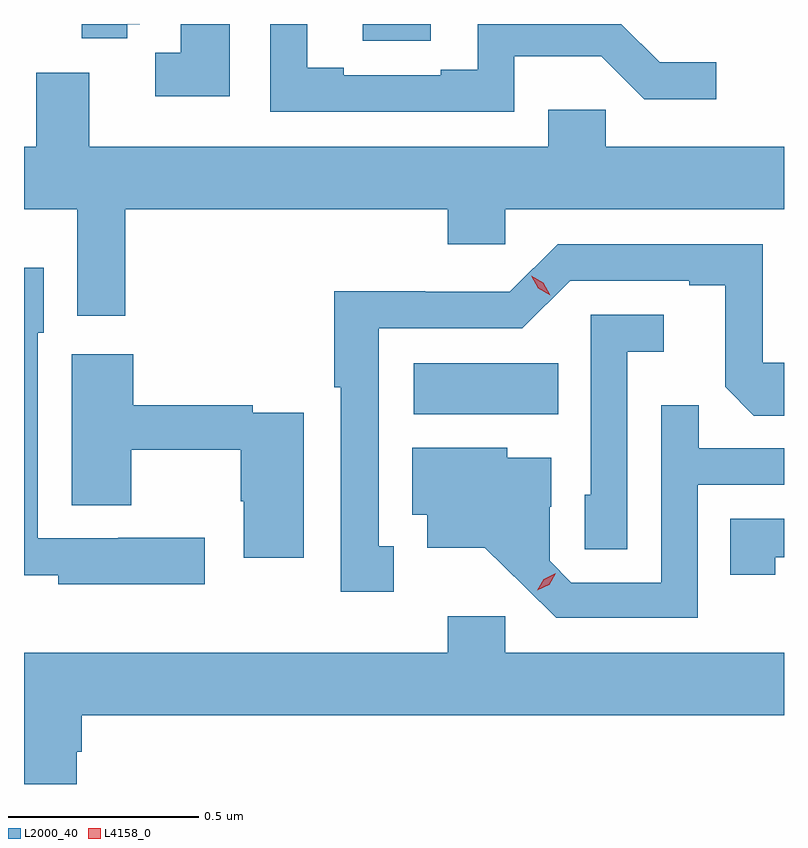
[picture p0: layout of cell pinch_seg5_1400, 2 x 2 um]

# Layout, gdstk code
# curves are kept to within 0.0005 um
import gdstk
lib = gdstk.Library(unit=1e-6, precision=1e-09)
def R(c, l, rs):  # rectangles x0, y0, x1, y1
    for r in rs: c.add(gdstk.rectangle(r[:2], r[2:], *l))
def P(c, l, *ps):  # polygons
    for p in ps: c.add(gdstk.Polygon(p, *l))
L2000_40 = (2000, 40)
L4158_0 = (4158, 0)

pinch_seg5_1400 = lib.new_cell('pinch_seg5_1400')
R(pinch_seg5_1400, L2000_40, [(300.102,882.86,300.482,882.994), (299.967,883.843,300.146,883.887)])
P(pinch_seg5_1400, L2000_40, [(299.348,883.886),(299.38,883.886),(299.38,883.887),(299.228,883.887),(299.228,883.849),(299.348,883.849)],
  [(299.617,883.887),(299.489,883.887),(299.489,883.812),(299.421,883.812),(299.421,883.697),(299.617,883.697)],
  [(300.366,883.802),(300.595,883.802),(300.708,883.689),(300.898,883.689),(300.898,883.786),(300.749,883.786),(300.648,883.887),(300.27,883.887),(300.27,883.766),(300.173,883.766),(300.173,883.752),(299.917,883.752),(299.917,883.772),(299.821,883.772),(299.821,883.887),(299.724,883.887),(299.724,883.656),(300.366,883.656)],
  [(299.342,883.4),(300.191,883.4),(300.191,883.307),(300.342,883.307),(300.342,883.4),(301.076,883.4),(301.076,883.564),(300.607,883.564),(300.607,883.662),(300.455,883.662),(300.455,883.564),(299.248,883.564),(299.248,883.759),(299.108,883.759),(299.108,883.564),(299.076,883.564),(299.076,883.4),(299.216,883.4),(299.216,883.119),(299.342,883.119)],
  [(300.049,882.513),(300.01,882.513),(300.01,883.086),(300.387,883.086),(300.513,883.212),(300.827,883.212),(300.827,883.2),(300.921,883.2),(300.921,882.932),(300.997,882.856),(301.076,882.856),(301.076,882.996),(301.02,882.996),(301.02,883.308),(300.48,883.308),(300.354,883.182),(300.132,883.182),(300.132,883.184),(299.892,883.184),(299.892,882.931),(299.909,882.931),(299.909,882.393),(300.049,882.393)],
  [(299.551,882.535),(299.324,882.535),(299.324,882.534),(299.112,882.534),(299.112,883.074),(299.128,883.074),(299.128,883.246),(299.076,883.246),(299.076,882.437),(299.166,882.437),(299.166,882.413),(299.551,882.413)],
  [(300.663,883.025),(300.76,883.025),(300.76,883.122),(300.567,883.122),(300.567,882.648),(300.552,882.648),(300.552,882.505),(300.663,882.505)],
  [(299.812,882.864),(299.678,882.864),(299.678,882.884),(299.363,882.884),(299.363,883.018),(299.201,883.018),(299.201,882.62),(299.358,882.62),(299.358,882.766),(299.647,882.766),(299.647,882.631),(299.654,882.631),(299.654,882.483),(299.812,882.483)],
  [(300.849,882.675),(301.076,882.675),(301.076,882.771),(300.851,882.771),(300.851,882.884),(300.753,882.884),(300.753,882.417),(300.516,882.417),(300.459,882.474),(300.459,882.616),(300.463,882.616),(300.463,882.745),(300.348,882.745),(300.348,882.772),(300.098,882.772),(300.098,882.596),(300.137,882.596),(300.137,882.509),(300.289,882.509),(300.476,882.324),(300.849,882.324)],
  [(301.053,882.484),(301.076,882.484),(301.076,882.585),(300.934,882.585),(300.934,882.438),(301.053,882.438)],
  [(299.215,881.972),(299.228,881.972),(299.228,882.068),(301.076,882.068),(301.076,882.232),(300.342,882.232),(300.342,882.328),(300.191,882.328),(300.191,882.232),(299.076,882.232),(299.076,881.887),(299.215,881.887)])
P(pinch_seg5_1400, L4158_0, [(300.427,882.397),(300.427,882.397),(300.444,882.426),(300.475,882.441),(300.475,882.441),(300.475,882.441),(300.458,882.412),(300.427,882.397)],
  [(300.461,883.173),(300.429,883.192),(300.411,883.224),(300.411,883.225),(300.411,883.225),(300.443,883.206),(300.461,883.173),(300.461,883.173)])

lib.write_gds('pinch_seg5_1400.gds')
